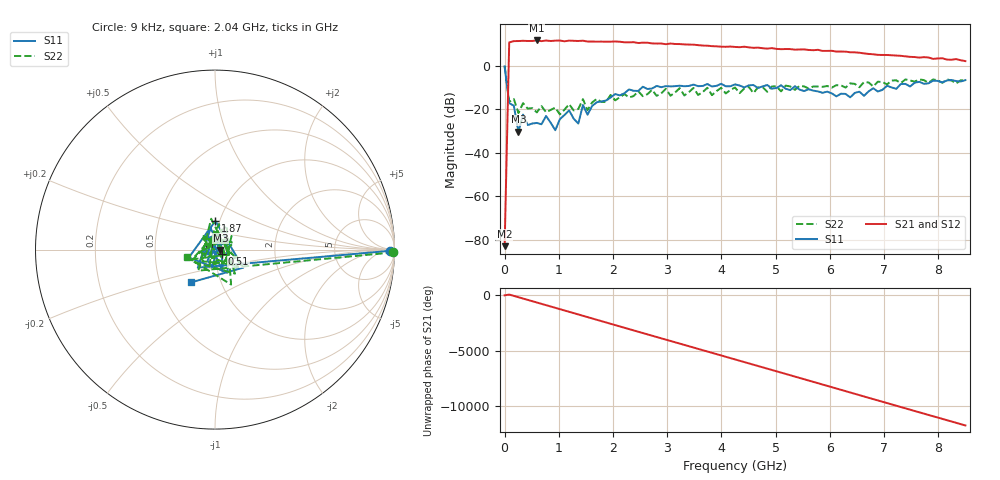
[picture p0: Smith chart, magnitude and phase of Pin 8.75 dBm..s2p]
! RsaToolbox (C) 2013 Rohde & Schwarz America
! Number of points: 101
! Number of ports: 2
! Balanced ports?: 0
# Hz S RI R 50
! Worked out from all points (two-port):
!   101 points, 9 kHz to 8.5 GHz, reference 50 ohm
!   highest |S21| = 11.68 dB at 595 MHz (marker M1); lowest = -82.9 dB at 9 kHz (marker M2)
!   |S21| within 3 dB of the highest: 83.1 MHz to 4.261 GHz (4.177 GHz wide, 192 % of centre); 4.372 GHz to 4.456 GHz (83.87 MHz wide, 1.9 % of centre)
!   lowest |S11| = -30.3 dB at 255 MHz (marker M3), VSWR 1.06, Z = 53.2 - j0.232 ohm
!   |S11| at or under -10 dB: 49.16 MHz to 2.532 GHz (2.483 GHz wide, 192 % of centre); 2.584 GHz to 2.748 GHz (164.7 MHz wide, 6.18 % of centre); 5.391 GHz to 7.016 GHz (1.625 GHz wide, 26.2 % of centre) (the widest 3 of 7)
!   |S22| runs from -22.3 to -0.1 dB; largest |S21 - S12| = 0
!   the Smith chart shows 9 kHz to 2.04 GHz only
!   S11 on the Smith chart (normalised r, x): 9 kHz: 78, -23; 510 MHz: 1.08, -0.05; 1.87 GHz: 0.95, +0.31; 2.04 GHz: 0.72, -0.28
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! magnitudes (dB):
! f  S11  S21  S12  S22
! 9 kHz  -0.2  -82.9  -82.9  -0.1
! 85.01 MHz  -17.1  10.8  10.8  -16.5
! 170 MHz  -18.3  11.4  11.4  -15.2
! 255 MHz  -30.3  11.4  11.4  -21.7
! 340 MHz  -22.4  11.5  11.5  -17.2
! 510 MHz  -26.5  11.5  11.5  -19.4
! 595 MHz  -26.2  11.7  11.7  -21.4
! 765 MHz  -23.0  11.6  11.6  -21.3
! 935 MHz  -29.6  11.6  11.6  -19.2
! 1.02 GHz  -24.5  11.6  11.6  -22.3
! 1.19 GHz  -20.5  11.6  11.6  -17.6
! 1.36 GHz  -26.5  11.4  11.4  -19.8
! 1.445 GHz  -18.0  11.6  11.6  -15.3
! 1.53 GHz  -22.4  11.2  11.2  -20.4
! 1.87 GHz  -15.9  11.1  11.1  -16.6
! 2.04 GHz  -12.9  11.2  11.2  -15.8
! 2.89 GHz  -9.8  10.3  10.3  -12.6
! 4.25 GHz  -8.5  8.7  8.7  -9.9
! 5.695 GHz  -11.4  7.2  7.2  -9.4
! 6.375 GHz  -14.5  6.3  6.3  -8.0
! 7.14 GHz  -9.9  4.9  4.9  -6.7
! 8.5 GHz  -6.6  2.2  2.2  -6.7
